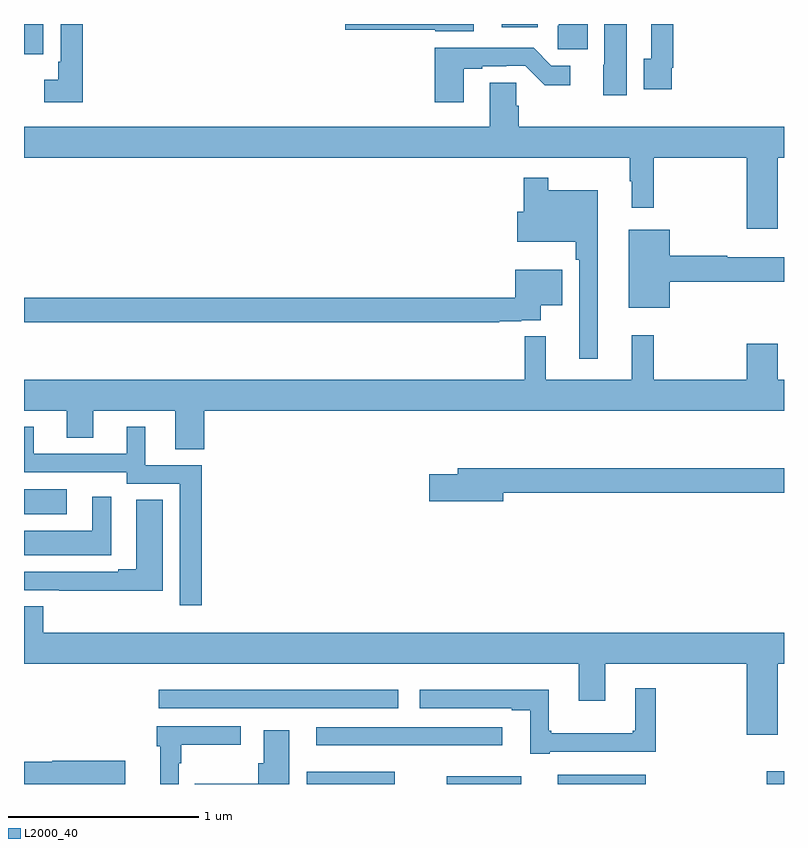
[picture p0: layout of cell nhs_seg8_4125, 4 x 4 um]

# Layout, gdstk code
import gdstk
lib = gdstk.Library(unit=1e-6, precision=1e-09)
def R(c, l, rs):  # rectangles x0, y0, x1, y1
    for r in rs: c.add(gdstk.rectangle(r[:2], r[2:], *l))
def P(c, l, *ps):  # polygons
    for p in ps: c.add(gdstk.Polygon(p, *l))
L2000_40 = (2000, 40)

nhs_seg8_4125 = lib.new_cell('nhs_seg8_4125')
R(nhs_seg8_4125, L2000_40, [(366.488,1083.9,366.952,1083.964), (367.226,1083.9,367.618,1083.94), (367.808,1083.9,368.272,1083.949), (368.91,1083.9,369,1083.967), (366.537,1084.103,367.516,1084.2), (365.709,1084.299,366.97,1084.396), (365,1085.321,365.224,1085.452), (365,1087.74,365.101,1087.9), (367.514,1087.883,367.704,1087.9)])
P(nhs_seg8_4125, L2000_40, [(367.366,1087.9),(366.69,1087.9),(366.69,1087.871),(367.164,1087.871),(367.164,1087.862),(367.366,1087.862)],
  [(365.309,1087.9),(365.193,1087.9),(365.193,1087.702),(365.181,1087.702),(365.181,1087.606),(365.106,1087.606),(365.106,1087.487),(365.309,1087.487)],
  [(368.41,1087.669),(368.417,1087.669),(368.417,1087.9),(368.301,1087.9),(368.301,1087.718),(368.261,1087.718),(368.261,1087.557),(368.41,1087.557)],
  [(367.966,1087.9),(367.814,1087.9),(367.814,1087.89),(367.81,1087.89),(367.81,1087.767),(367.966,1087.767)],
  [(368.173,1087.9),(368.054,1087.9),(368.054,1087.686),(368.048,1087.686),(368.048,1087.524),(368.173,1087.524)],
  [(367.315,1087.665),(367.411,1087.665),(367.411,1087.677),(367.538,1087.677),(367.538,1087.68),(367.638,1087.68),(367.741,1087.578),(367.876,1087.578),(367.876,1087.68),(367.776,1087.68),(367.682,1087.774),(367.163,1087.774),(367.163,1087.488),(367.315,1087.488)],
  [(368.968,1087.196),(369,1087.196),(369,1087.36),(367.604,1087.36),(367.604,1087.47),(367.59,1087.47),(367.59,1087.592),(367.451,1087.592),(367.451,1087.36),(365,1087.36),(365,1087.196),(368.187,1087.196),(368.187,1087.073),(368.198,1087.073),(368.198,1086.933),(368.315,1086.933),(368.315,1087.196),(368.804,1087.196),(368.804,1086.822),(368.968,1086.822)],
  [(368.02,1087.024),(367.759,1087.024),(367.759,1087.09),(367.63,1087.09),(367.63,1086.913),(367.596,1086.913),(367.596,1086.755),(367.903,1086.755),(367.903,1086.659),(367.923,1086.659),(367.923,1086.138),(368.02,1086.138)],
  [(368.398,1086.544),(369,1086.544),(369,1086.673),(368.7,1086.673),(368.7,1086.68),(368.398,1086.68),(368.398,1086.817),(368.183,1086.817),(368.183,1086.407),(368.398,1086.407)],
  [(367.502,1086.336),(367.616,1086.336),(367.616,1086.342),(367.72,1086.342),(367.72,1086.419),(367.834,1086.419),(367.834,1086.607),(367.586,1086.607),(367.586,1086.458),(365,1086.458),(365,1086.33),(367.502,1086.33)],
  [(365,1085.864),(365.225,1085.864),(365.225,1085.722),(365.365,1085.722),(365.365,1085.864),(365.795,1085.864),(365.795,1085.662),(365.948,1085.662),(365.948,1085.864),(369,1085.864),(369,1086.028),(368.968,1086.028),(368.968,1086.217),(368.804,1086.217),(368.804,1086.028),(368.315,1086.028),(368.315,1086.262),(368.198,1086.262),(368.198,1086.028),(367.745,1086.028),(367.745,1086.257),(367.636,1086.257),(367.636,1086.028),(365,1086.028)],
  [(365.936,1085.577),(365.638,1085.577),(365.638,1085.779),(365.54,1085.779),(365.54,1085.637),(365.05,1085.637),(365.05,1085.779),(365,1085.779),(365,1085.541),(365.541,1085.541),(365.541,1085.481),(365.82,1085.481),(365.82,1084.842),(365.936,1084.842)],
  [(367.522,1085.434),(369,1085.434),(369,1085.563),(367.283,1085.563),(367.283,1085.529),(367.134,1085.529),(367.134,1085.387),(367.522,1085.387)],
  [(365.458,1085.413),(365.36,1085.413),(365.36,1085.233),(365,1085.233),(365,1085.105),(365.458,1085.105)],
  [(365.731,1085.395),(365.591,1085.395),(365.591,1085.029),(365.495,1085.029),(365.495,1085.016),(365,1085.016),(365,1084.92),(365.185,1084.92),(365.185,1084.918),(365.731,1084.918)],
  [(368.968,1084.532),(369,1084.532),(369,1084.696),(365.102,1084.696),(365.102,1084.835),(365,1084.835),(365,1084.532),(367.919,1084.532),(367.919,1084.338),(368.059,1084.338),(368.059,1084.532),(368.804,1084.532),(368.804,1084.158),(368.968,1084.158)],
  [(367.768,1084.071),(368.326,1084.071),(368.326,1084.405),(368.216,1084.405),(368.216,1084.18),(368.205,1084.18),(368.205,1084.168),(367.774,1084.168),(367.774,1084.18),(367.762,1084.18),(367.762,1084.396),(367.083,1084.396),(367.083,1084.299),(367.568,1084.299),(367.568,1084.287),(367.664,1084.287),(367.664,1084.059),(367.768,1084.059)],
  [(365.814,1084.01),(365.827,1084.01),(365.827,1084.106),(366.142,1084.106),(366.142,1084.203),(365.698,1084.203),(365.698,1084.1),(365.717,1084.1),(365.717,1083.9),(365.814,1083.9)],
  [(366.397,1084.183),(366.263,1084.183),(366.263,1084.009),(366.233,1084.009),(366.233,1083.902),(365.899,1083.902),(365.899,1083.9),(366.397,1083.9)],
  [(365.533,1084.022),(365.148,1084.022),(365.148,1084.016),(365,1084.016),(365,1083.9),(365.533,1083.9)])

lib.write_gds('nhs_seg8_4125.gds')
